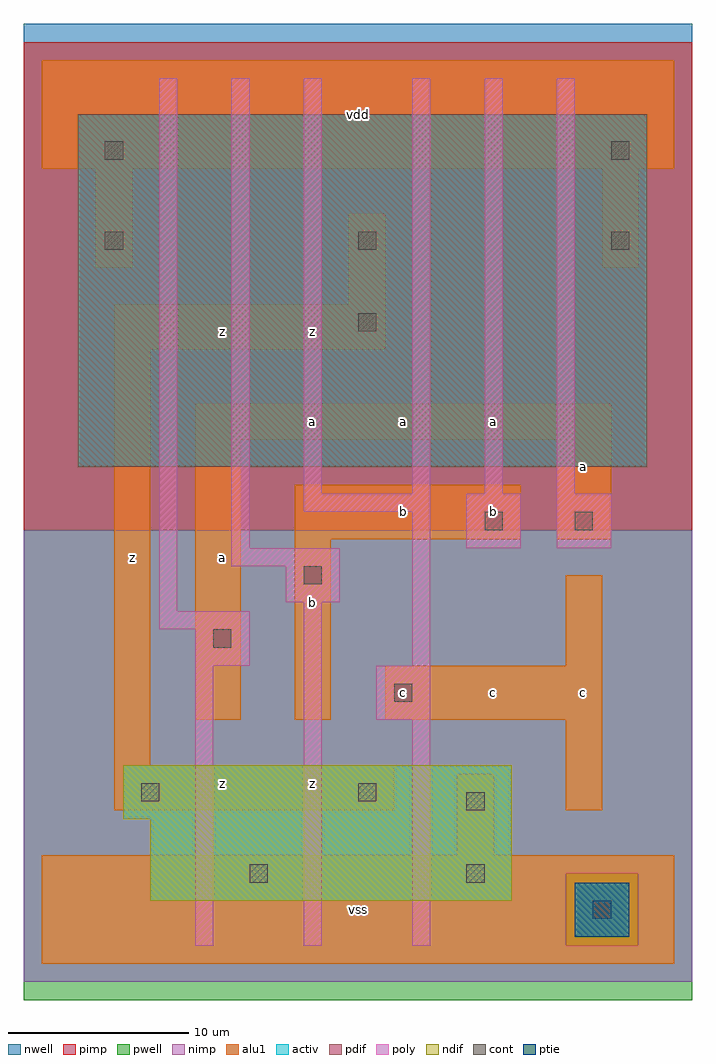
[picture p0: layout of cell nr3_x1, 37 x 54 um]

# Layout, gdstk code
import gdstk
lib = gdstk.Library(unit=1e-6, precision=1e-09)
def R(c, l, rs):  # rectangles x0, y0, x1, y1
    for r in rs: c.add(gdstk.rectangle(r[:2], r[2:], *l))
def A(c, l, x, y, w, h, nx, ny, dx, dy):  # array of equal rectangles
    R(c, l, [(x+i*dx, y+j*dy, x+i*dx+w, y+j*dy+h) for i in range(nx) for j in range(ny)])
ndif = (3, 0)
pdif = (4, 0)
ptie = (6, 0)
cont = (25, 0)
pwell = (41, 0)
nwell = (42, 0)
activ = (43, 0)
pimp = (44, 0)
nimp = (45, 0)
poly = (46, 0)
alu1 = (49, 0)

nr3_x1 = lib.new_cell('nr3_x1')
R(nr3_x1, ndif, [(6,3.5,26,8), (4.5,8,26,11)])
R(nr3_x1, pdif, [(2,27.5,33.5,47)])
R(nr3_x1, ptie, [(29.5,1.5,32.5,4.5)])
A(nr3_x1, cont, 3.5, 39.5, 1, 1, 3, 1, 14, 0)
R(nr3_x1, cont, [(30.5,2.5,31.5,3.5), (11.5,4.5,12.5,5.5), (23.5,4.5,24.5,5.5), (23.5,8.5,24.5,9.5), (5.5,9,6.5,10), (17.5,9,18.5,10), (19.5,14.5,20.5,15.5), (9.5,17.5,10.5,18.5), (14.5,21,15.5,22), (24.5,24,25.5,25), (29.5,24,30.5,25), (17.5,35,18.5,36), (3.5,44.5,4.5,45.5), (31.5,44.5,32.5,45.5)])
R(nr3_x1, pwell, [(-1,-2,36,24)])
R(nr3_x1, nwell, [(-1,24,36,52)])
R(nr3_x1, activ, [(29.5,1.5,32.5,4.5), (6,3.5,26,8), (4.5,8,26,11), (2,27.5,33.5,47)])
R(nr3_x1, pimp, [(29,1,33,5), (-1,24,36,51)])
R(nr3_x1, nimp, [(-1,-1,36,1), (-1,1,29,5), (33,1,36,5), (-1,5,36,24)])
A(nr3_x1, poly, 20.5, 26, 1, 23, 3, 1, 4, 0)
R(nr3_x1, poly, [(8.5,1,9.5,16.5), (14.5,1,15.5,20), (20.5,1,21.5,13.5), (18.5,13.5,21.5,16.5), (8.5,16.5,11.5,18.5), (20.5,16.5,21.5,25), (6.5,18.5,11.5,19.5), (6.5,19.5,7.5,49), (13.5,20,16.5,22), (10.5,22,16.5,23), (10.5,23,11.5,49), (23.5,23,26.5,26), (28.5,23,31.5,26), (14.5,25,21.5,26), (14.5,26,15.5,49)])
R(nr3_x1, alu1, [(0,0,35,6), (23,6,25,10.5), (4,8.5,19.5,11), (29,8.5,31,13.5), (4,11,6,34), (8.5,13.5,11,29), (14,13.5,16,23.5), (19,13.5,31,16.5), (29,16.5,31,21.5), (14,23.5,26.5,26.5), (28.5,23.5,31.5,29), (8.5,29,31.5,31), (4,34,19,36.5), (17,36.5,19,41.5), (3,38.5,5,44), (31,38.5,33,44), (0,44,35,50)])
nr3_x1.add(gdstk.Label('z', (10,10), layer=49, texttype=0))
nr3_x1.add(gdstk.Label('z', (5,22.5), layer=49, texttype=0))
nr3_x1.add(gdstk.Label('a', (10,22.5), layer=49, texttype=0))
nr3_x1.add(gdstk.Label('z', (10,35), layer=49, texttype=0))
nr3_x1.add(gdstk.Label('vss', (17.5,3), layer=49, texttype=0))
nr3_x1.add(gdstk.Label('z', (15,10), layer=49, texttype=0))
nr3_x1.add(gdstk.Label('b', (15,20), layer=49, texttype=0))
nr3_x1.add(gdstk.Label('a', (15,30), layer=49, texttype=0))
nr3_x1.add(gdstk.Label('z', (15,35), layer=49, texttype=0))
nr3_x1.add(gdstk.Label('vdd', (17.5,47), layer=49, texttype=0))
nr3_x1.add(gdstk.Label('c', (20,15), layer=49, texttype=0))
nr3_x1.add(gdstk.Label('c', (25,15), layer=49, texttype=0))
nr3_x1.add(gdstk.Label('b', (20,25), layer=49, texttype=0))
nr3_x1.add(gdstk.Label('b', (25,25), layer=49, texttype=0))
nr3_x1.add(gdstk.Label('a', (25,30), layer=49, texttype=0))
nr3_x1.add(gdstk.Label('a', (20,30), layer=49, texttype=0))
nr3_x1.add(gdstk.Label('c', (30,15), layer=49, texttype=0))
nr3_x1.add(gdstk.Label('a', (30,27.5), layer=49, texttype=0))

lib.write_gds('nr3_x1.gds')
